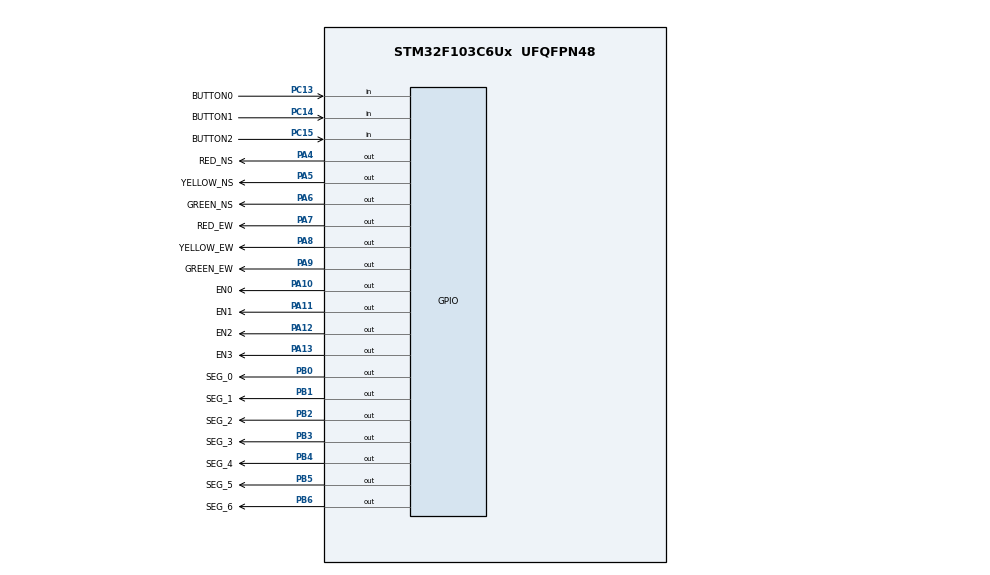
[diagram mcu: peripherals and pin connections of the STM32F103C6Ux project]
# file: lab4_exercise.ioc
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Mcu.Family=STM32F1
Mcu.Name=STM32F103C6Ux
Mcu.Package=UFQFPN48
NVIC.PriorityGroup=NVIC_PRIORITYGROUP_4
NVIC.TIM2_IRQn=true\:0\:0\:false\:false\:true\:true\:true
PA10.GPIO_Label=EN0
PA10.Signal=GPIO_Output
PA11.GPIO_Label=EN1
PA11.Signal=GPIO_Output
PA12.GPIO_Label=EN2
PA12.Signal=GPIO_Output
PA13.GPIO_Label=EN3
PA13.Signal=GPIO_Output
PA4.GPIO_Label=RED_NS
PA4.Signal=GPIO_Output
PA5.GPIO_Label=YELLOW_NS
PA5.Signal=GPIO_Output
PA6.GPIO_Label=GREEN_NS
PA6.Signal=GPIO_Output
PA7.GPIO_Label=RED_EW
PA7.Signal=GPIO_Output
PA8.GPIO_Label=YELLOW_EW
PA8.Signal=GPIO_Output
PA9.GPIO_Label=GREEN_EW
PA9.Signal=GPIO_Output
PB0.GPIO_Label=SEG_0
PB0.Signal=GPIO_Output
PB1.GPIO_Label=SEG_1
PB1.Signal=GPIO_Output
PB2.GPIO_Label=SEG_2
PB2.Signal=GPIO_Output
PB3.GPIO_Label=SEG_3
PB3.Signal=GPIO_Output
PB4.GPIO_Label=SEG_4
PB4.Signal=GPIO_Output
PB5.GPIO_Label=SEG_5
PB5.Signal=GPIO_Output
PB6.GPIO_Label=SEG_6
PB6.Signal=GPIO_Output
PC13-TAMPER-RTC.GPIO_Label=BUTTON0
PC13-TAMPER-RTC.GPIO_PuPd=GPIO_PULLUP
PC13-TAMPER-RTC.Signal=GPIO_Input
PC14-OSC32_IN.GPIO_Label=BUTTON1
PC14-OSC32_IN.GPIO_PuPd=GPIO_PULLUP
PC14-OSC32_IN.Signal=GPIO_Input
PC15-OSC32_OUT.GPIO_Label=BUTTON2
PC15-OSC32_OUT.GPIO_PuPd=GPIO_PULLUP
PC15-OSC32_OUT.Signal=GPIO_Input
ProjectManager.HeapSize=0x200
ProjectManager.StackSize=0x400
ProjectManager.TargetToolchain=STM32CubeIDE
RCC.APB1Freq_Value=8000000
RCC.APB2Freq_Value=8000000
TIM2.Period=9
TIM2.Prescaler=7999
VP_SYS_VS_ND.Mode=No_Debug
VP_TIM2_VS_ClockSourceINT.Mode=Internal
board=custom

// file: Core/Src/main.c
/* USER CODE BEGIN Header */
/**
  ******************************************************************************
  * @file           : main.c
  * @brief          : Main program body
  ******************************************************************************
  * @attention
  *
  * <h2><center>&copy; Copyright (c) 2024 STMicroelectronics.
  * All rights reserved.</center></h2>
  *
  * This software component is licensed by ST under BSD 3-Clause license,
  * the "License"; You may not use this file except in compliance with the
  * License. You may obtain a copy of the License at:
  *                        opensource.org/licenses/BSD-3-Clause
  *
  ******************************************************************************
  */
/* USER CODE END Header */
#include "main.h"

/* USER CODE BEGIN Includes */
#include "fsm_automatic.h"
#include "fsm_manual.h"
#include "fsm_setting.h"
#include "software_timer.h"
#include "global.h"
#include "led7_segment.h"
#include "button.h"
#include "scheduler.h"
#include "traffic_light.h"
/* USER CODE END Includes */

TIM_HandleTypeDef htim2;

void SystemClock_Config(void);
static void MX_GPIO_Init(void);
static void MX_TIM2_Init(void);

int main(void)
{

  /* MCU Configuration--------------------------------------------------------*/

  /* Reset of all peripherals, Initializes the Flash interface and the Systick. */
  HAL_Init();

  /* Configure the system clock */
  SystemClock_Config();

  /* Initialize all configured peripherals */
  MX_GPIO_Init();
  MX_TIM2_Init();
  /* USER CODE BEGIN 2 */

  HAL_TIM_Base_Start_IT (& htim2 );
  status = INIT;
  setTimer3(10);
  setTimer4(100);
  /* USER CODE END 2 */

  /* Infinite loop */
  /* USER CODE BEGIN WHILE */
  SCH_Init();
  SCH_Add_Task(timerRun,0, 10);
  SCH_Add_Task(getKeyInput,0, 10);
  SCH_Add_Task(fsm_automatic_run, 0, 10);
  SCH_Add_Task(fsm_manual_run, 0, 10);
  SCH_Add_Task(fsm_setting_run, 0, 10);
  while (1)
  {
	  SCH_Dispatch_Tasks();

    /* USER CODE END WHILE */

  }
}

void SystemClock_Config(void)
{
  RCC_OscInitTypeDef RCC_OscInitStruct = {0};
  RCC_ClkInitTypeDef RCC_ClkInitStruct = {0};

  /** Initializes the RCC Oscillators according to the specified parameters
  * in the RCC_OscInitTypeDef structure.
  */
  RCC_OscInitStruct.OscillatorType = RCC_OSCILLATORTYPE_HSI;
  RCC_OscInitStruct.HSIState = RCC_HSI_ON;
  RCC_OscInitStruct.HSICalibrationValue = RCC_HSICALIBRATION_DEFAULT;
  RCC_OscInitStruct.PLL.PLLState = RCC_PLL_NONE;
  if (HAL_RCC_OscConfig(&RCC_OscInitStruct) != HAL_OK)
  {
    Error_Handler();
  }
  /** Initializes the CPU, AHB and APB buses clocks
  */
  RCC_ClkInitStruct.ClockType = RCC_CLOCKTYPE_HCLK|RCC_CLOCKTYPE_SYSCLK
                              |RCC_CLOCKTYPE_PCLK1|RCC_CLOCKTYPE_PCLK2;
  RCC_ClkInitStruct.SYSCLKSource = RCC_SYSCLKSOURCE_HSI;
  RCC_ClkInitStruct.AHBCLKDivider = RCC_SYSCLK_DIV1;
  RCC_ClkInitStruct.APB1CLKDivider = RCC_HCLK_DIV1;
  RCC_ClkInitStruct.APB2CLKDivider = RCC_HCLK_DIV1;

  if (HAL_RCC_ClockConfig(&RCC_ClkInitStruct, FLASH_LATENCY_0) != HAL_OK)
  {
    Error_Handler();
  }
}

static void MX_TIM2_Init(void)
{

  TIM_ClockConfigTypeDef sClockSourceConfig = {0};
  TIM_MasterConfigTypeDef sMasterConfig = {0};

  htim2.Instance = TIM2;
  htim2.Init.Prescaler = 7999;
  htim2.Init.CounterMode = TIM_COUNTERMODE_UP;
  htim2.Init.Period = 9;
  htim2.Init.ClockDivision = TIM_CLOCKDIVISION_DIV1;
  htim2.Init.AutoReloadPreload = TIM_AUTORELOAD_PRELOAD_DISABLE;
  if (HAL_TIM_Base_Init(&htim2) != HAL_OK)
  {
    Error_Handler();
  }
  sClockSourceConfig.ClockSource = TIM_CLOCKSOURCE_INTERNAL;
  if (HAL_TIM_ConfigClockSource(&htim2, &sClockSourceConfig) != HAL_OK)
  {
    Error_Handler();
  }
  sMasterConfig.MasterOutputTrigger = TIM_TRGO_RESET;
  sMasterConfig.MasterSlaveMode = TIM_MASTERSLAVEMODE_DISABLE;
  if (HAL_TIMEx_MasterConfigSynchronization(&htim2, &sMasterConfig) != HAL_OK)
  {
    Error_Handler();
  }

}

static void MX_GPIO_Init(void)
{
  GPIO_InitTypeDef GPIO_InitStruct = {0};

  /* GPIO Ports Clock Enable */
  __HAL_RCC_GPIOC_CLK_ENABLE();
  __HAL_RCC_GPIOA_CLK_ENABLE();
  __HAL_RCC_GPIOB_CLK_ENABLE();

  /*Configure GPIO pin Output Level */
  HAL_GPIO_WritePin(GPIOA, RED_NS_Pin|YELLOW_NS_Pin|GREEN_NS_Pin|RED_EW_Pin
                          |YELLOW_EW_Pin|GREEN_EW_Pin|EN0_Pin|EN1_Pin
                          |EN2_Pin|EN3_Pin, GPIO_PIN_RESET);

  /*Configure GPIO pin Output Level */
  HAL_GPIO_WritePin(GPIOB, SEG_0_Pin|SEG_1_Pin|SEG_2_Pin|SEG_3_Pin
                          |SEG_4_Pin|SEG_5_Pin|SEG_6_Pin, GPIO_PIN_RESET);

  /*Configure GPIO pins : BUTTON0_Pin BUTTON1_Pin BUTTON2_Pin */
  GPIO_InitStruct.Pin = BUTTON0_Pin|BUTTON1_Pin|BUTTON2_Pin;
  GPIO_InitStruct.Mode = GPIO_MODE_INPUT;
  GPIO_InitStruct.Pull = GPIO_PULLUP;
  HAL_GPIO_Init(GPIOC, &GPIO_InitStruct);

  /*Configure GPIO pins : RED_NS_Pin YELLOW_NS_Pin GREEN_NS_Pin RED_EW_Pin
                           YELLOW_EW_Pin GREEN_EW_Pin EN0_Pin EN1_Pin
                           EN2_Pin EN3_Pin */
  GPIO_InitStruct.Pin = RED_NS_Pin|YELLOW_NS_Pin|GREEN_NS_Pin|RED_EW_Pin
                          |YELLOW_EW_Pin|GREEN_EW_Pin|EN0_Pin|EN1_Pin
                          |EN2_Pin|EN3_Pin;
  GPIO_InitStruct.Mode = GPIO_MODE_OUTPUT_PP;
  GPIO_InitStruct.Pull = GPIO_NOPULL;
  GPIO_InitStruct.Speed = GPIO_SPEED_FREQ_LOW;
  HAL_GPIO_Init(GPIOA, &GPIO_InitStruct);

  /*Configure GPIO pins : SEG_0_Pin SEG_1_Pin SEG_2_Pin SEG_3_Pin
                           SEG_4_Pin SEG_5_Pin SEG_6_Pin */
  GPIO_InitStruct.Pin = SEG_0_Pin|SEG_1_Pin|SEG_2_Pin|SEG_3_Pin
                          |SEG_4_Pin|SEG_5_Pin|SEG_6_Pin;
  GPIO_InitStruct.Mode = GPIO_MODE_OUTPUT_PP;
  GPIO_InitStruct.Pull = GPIO_NOPULL;
  GPIO_InitStruct.Speed = GPIO_SPEED_FREQ_LOW;
  HAL_GPIO_Init(GPIOB, &GPIO_InitStruct);

}

/* USER CODE BEGIN 4 */
void HAL_TIM_PeriodElapsedCallback ( TIM_HandleTypeDef * htim )
{
	SCH_Update();
}
/* USER CODE END 4 */

void Error_Handler(void)
{
  __disable_irq();
  while (1)
  {
  }
}

/************************ (C) COPYRIGHT STMicroelectronics *****END OF FILE****/
